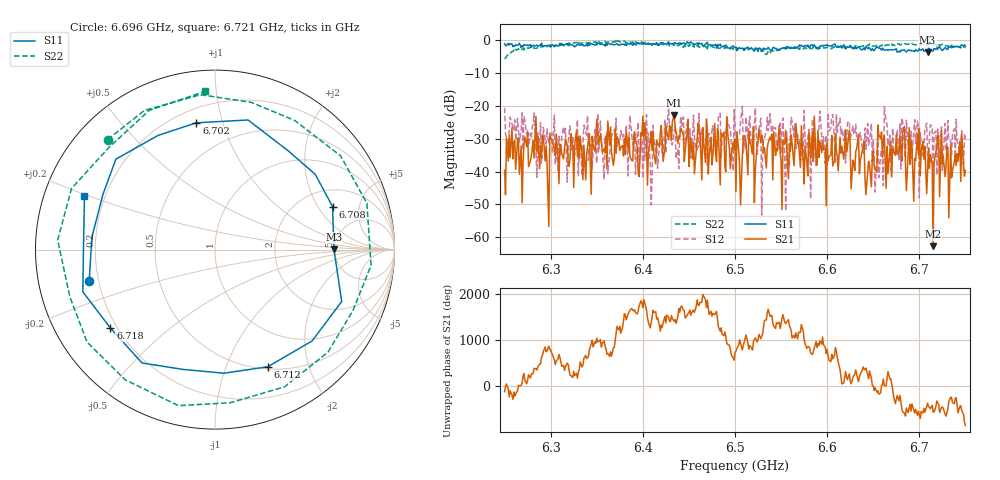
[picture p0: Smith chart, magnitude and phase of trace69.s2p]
# Hz S RI R 50
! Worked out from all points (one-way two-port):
!   401 points, 6.25 GHz to 6.75 GHz, reference 50 ohm
!   highest |S21| = -22.75 dB at 6.434 GHz (marker M1); lowest = -62.8 dB at 6.715 GHz (marker M2)
!   lowest |S11| = -3.6 dB at 6.709 GHz (marker M3), VSWR 4.93, Z = 246 + j1 ohm
!   |S11| at or under -10 dB: nowhere
!   |S22| runs from -5.6 to 0.0 dB; largest |S21 - S12| = 0.13
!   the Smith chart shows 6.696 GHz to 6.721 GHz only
!   S11 on the Smith chart (normalised r, x): 6.696 GHz: 0.16, -0.12; 6.702 GHz: 0.29, +0.82; 6.708 GHz: 2.91, +2.72; 6.712 GHz: 0.53, -1.41; 6.718 GHz: 0.17, -0.32; 6.721 GHz: 0.12, +0.19
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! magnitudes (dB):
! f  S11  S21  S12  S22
! 6.25 GHz  -1.0  -39.6  -20.5  -5.6
! 6.255 GHz  -1.4  -29.0  -27.3  -4.0
! 6.334 GHz  -1.4  -34.2  -41.3  -0.8
! 6.418 GHz  -1.4  -32.3  -32.1  -1.2
! 6.434 GHz  -0.8  -22.7  -27.4  -1.5
! 6.5 GHz  -2.1  -30.2  -25.6  -1.9
! 6.536 GHz  -2.1  -31.2  -27.6  -3.4
! 6.556 GHz  -1.9  -31.8  -28.0  -2.5
! 6.562 GHz  -2.4  -31.6  -24.7  -2.4
! 6.576 GHz  -1.5  -32.1  -30.4  -2.2
! 6.584 GHz  -1.3  -28.1  -23.9  -2.4
! 6.604 GHz  -1.5  -34.9  -26.8  -2.5
! 6.668 GHz  -2.8  -34.1  -28.9  -1.4
! 6.696 GHz  -2.8  -36.7  -31.5  -1.3
! 6.702 GHz  -2.9  -34.2  -31.7  -1.2
! 6.708 GHz  -3.1  -46.8  -25.2  -1.4
! 6.709 GHz  -3.6  -39.8  -35.7  -1.3
! 6.712 GHz  -2.9  -34.8  -25.7  -1.1
! 6.715 GHz  -3.2  -62.8  -47.5  -1.4
! 6.718 GHz  -2.8  -34.1  -27.6  -1.2
! 6.721 GHz  -2.1  -29.0  -34.2  -1.1
! 6.75 GHz  -1.7  -39.6  -30.0  -2.2
